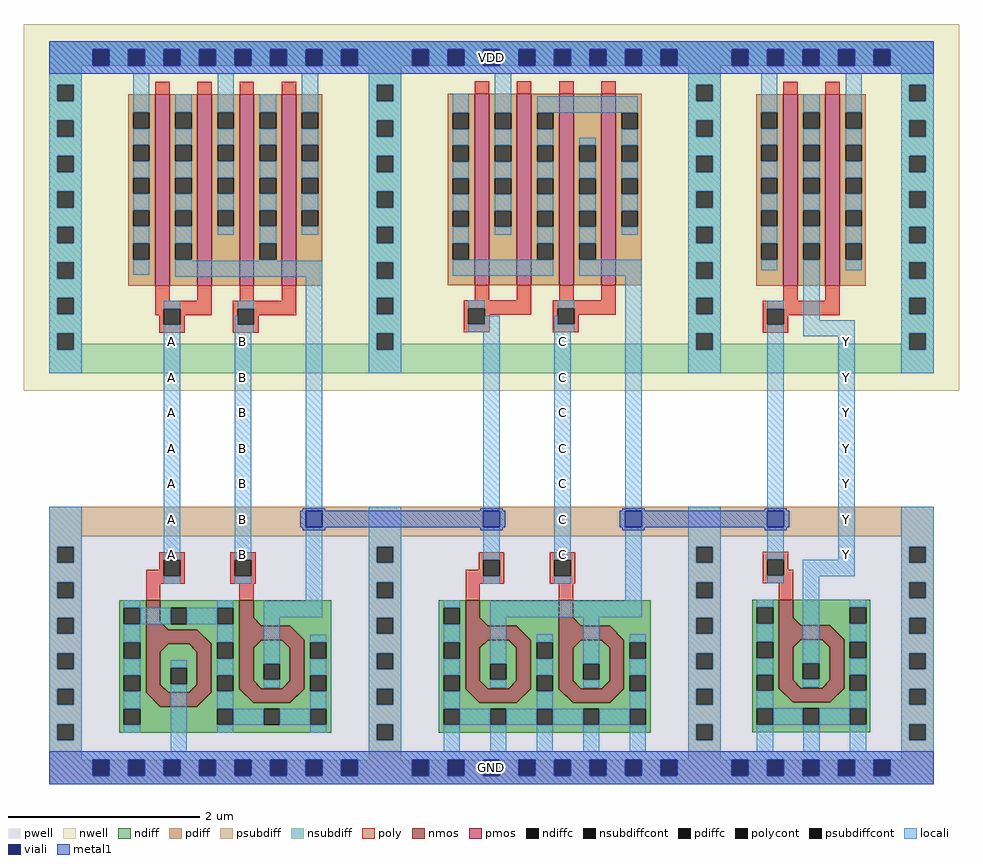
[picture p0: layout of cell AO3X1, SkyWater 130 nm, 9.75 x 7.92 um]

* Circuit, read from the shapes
.subckt AO3X1 Y A B C VDD GND
XM1 n1 A GND GND sky130_fd_pr__nfet_01v8 w=2.6 l=0.1496
XM2 n1 B n2 GND sky130_fd_pr__nfet_01v8 w=2.56 l=0.147
XM3 GND n2 n3 GND sky130_fd_pr__nfet_01v8 w=2.56 l=0.146
XM4 GND C n3 GND sky130_fd_pr__nfet_01v8 w=2.56 l=0.1465
XM5 GND n3 Y GND sky130_fd_pr__nfet_01v8 w=2.56 l=0.1486
XM6 n2 A VDD VDD sky130_fd_pr__pfet_01v8 w=2 l=0.15 m=2
XM7 n2 B VDD VDD sky130_fd_pr__pfet_01v8 w=2 l=0.15 m=2
XM8 VDD n2 n4 VDD sky130_fd_pr__pfet_01v8 w=2 l=0.15 m=2
XM9 n3 C n4 VDD sky130_fd_pr__pfet_01v8 w=2 l=0.15 m=2
XM10 Y n3 VDD VDD sky130_fd_pr__pfet_01v8 w=2 l=0.15 m=2
.ends

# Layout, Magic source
magic
tech sky130A
magscale 1 2
<< nwell >>
rect -87 786 1863 1550
<< pwell >>
rect -34 -34 1810 544
<< nmos >>
rect 168 288 198 349
tri 198 288 214 304 sw
rect 362 296 392 349
tri 392 296 408 312 sw
rect 168 258 274 288
tri 274 258 304 288 sw
rect 362 266 468 296
tri 468 266 498 296 sw
rect 168 157 198 258
tri 198 242 214 258 nw
tri 258 242 274 258 ne
tri 198 157 214 173 sw
tri 258 157 274 173 se
rect 274 157 304 258
rect 362 165 392 266
tri 392 250 408 266 nw
tri 452 250 468 266 ne
tri 392 165 408 181 sw
tri 452 165 468 181 se
rect 468 165 498 266
tri 168 127 198 157 ne
rect 198 127 274 157
tri 274 127 304 157 nw
tri 362 135 392 165 ne
rect 392 135 468 165
tri 468 135 498 165 nw
rect 834 296 864 349
tri 864 296 880 312 sw
rect 1028 296 1058 349
tri 1058 296 1074 312 sw
rect 834 266 940 296
tri 940 266 970 296 sw
rect 834 165 864 266
tri 864 250 880 266 nw
tri 924 250 940 266 ne
tri 864 165 880 181 sw
tri 924 165 940 181 se
rect 940 165 970 266
rect 1028 266 1134 296
tri 1134 266 1164 296 sw
rect 1028 251 1059 266
tri 1059 251 1074 266 nw
tri 1118 251 1133 266 ne
rect 1133 251 1164 266
tri 834 135 864 165 ne
rect 864 135 940 165
tri 940 135 970 165 nw
rect 1028 165 1058 251
tri 1058 165 1074 181 sw
tri 1118 165 1134 181 se
rect 1134 165 1164 251
tri 1028 135 1058 165 ne
rect 1058 135 1134 165
tri 1134 135 1164 165 nw
rect 1487 297 1517 350
tri 1517 297 1533 313 sw
rect 1487 267 1593 297
tri 1593 267 1623 297 sw
rect 1487 166 1517 267
tri 1517 251 1533 267 nw
tri 1577 251 1593 267 ne
tri 1517 166 1533 182 sw
tri 1577 166 1593 182 se
rect 1593 166 1623 267
tri 1487 136 1517 166 ne
rect 1517 136 1593 166
tri 1593 136 1623 166 nw
<< pmos >>
rect 187 1004 217 1404
rect 275 1004 305 1404
rect 363 1004 393 1404
rect 451 1004 481 1404
rect 853 1005 883 1405
rect 941 1005 971 1405
rect 1029 1005 1059 1405
rect 1117 1005 1147 1405
rect 1496 1004 1526 1404
rect 1584 1004 1614 1404
<< ndiff >>
rect 112 333 168 349
rect 112 299 122 333
rect 156 299 168 333
rect 112 261 168 299
rect 198 333 362 349
rect 198 304 219 333
tri 198 288 214 304 ne
rect 214 299 219 304
rect 253 299 316 333
rect 350 299 362 333
rect 214 288 362 299
rect 392 312 554 349
tri 392 296 408 312 ne
rect 408 296 554 312
rect 112 227 122 261
rect 156 227 168 261
tri 274 258 304 288 ne
rect 304 261 362 288
tri 468 266 498 296 ne
rect 112 193 168 227
rect 112 159 122 193
rect 156 159 168 193
rect 112 127 168 159
tri 198 242 214 258 se
rect 214 242 258 258
tri 258 242 274 258 sw
rect 198 208 274 242
rect 198 174 219 208
rect 253 174 274 208
rect 198 173 274 174
tri 198 157 214 173 ne
rect 214 157 258 173
tri 258 157 274 173 nw
rect 304 227 316 261
rect 350 227 362 261
rect 304 193 362 227
rect 304 159 316 193
rect 350 159 362 193
tri 392 250 408 266 se
rect 408 250 452 266
tri 452 250 468 266 sw
rect 392 217 468 250
rect 392 183 413 217
rect 447 183 468 217
rect 392 181 468 183
tri 392 165 408 181 ne
rect 408 165 452 181
tri 452 165 468 181 nw
rect 498 261 554 296
rect 498 227 510 261
rect 544 227 554 261
rect 498 193 554 227
tri 168 127 198 157 sw
tri 274 127 304 157 se
rect 304 135 362 159
tri 362 135 392 165 sw
tri 468 135 498 165 se
rect 498 159 510 193
rect 544 159 554 193
rect 498 135 554 159
rect 304 127 554 135
rect 112 123 554 127
rect 112 89 122 123
rect 156 89 316 123
rect 350 89 413 123
rect 447 89 510 123
rect 544 89 554 123
rect 112 73 554 89
rect 778 333 834 349
rect 778 299 788 333
rect 822 299 834 333
rect 778 261 834 299
rect 864 312 1028 349
tri 864 296 880 312 ne
rect 880 296 1028 312
rect 1058 312 1220 349
tri 1058 296 1074 312 ne
rect 1074 296 1220 312
tri 940 266 970 296 ne
rect 778 227 788 261
rect 822 227 834 261
rect 778 193 834 227
rect 778 159 788 193
rect 822 159 834 193
tri 864 250 880 266 se
rect 880 250 924 266
tri 924 250 940 266 sw
rect 864 217 940 250
rect 864 183 885 217
rect 919 183 940 217
rect 864 181 940 183
tri 864 165 880 181 ne
rect 880 165 924 181
tri 924 165 940 181 nw
rect 970 261 1028 296
tri 1134 266 1164 296 ne
rect 970 227 982 261
rect 1016 227 1028 261
tri 1059 251 1074 266 se
rect 1074 251 1118 266
tri 1118 251 1133 266 sw
rect 1164 261 1220 296
rect 970 193 1028 227
rect 778 135 834 159
tri 834 135 864 165 sw
tri 940 135 970 165 se
rect 970 159 982 193
rect 1016 159 1028 193
rect 1058 217 1134 251
rect 1058 183 1079 217
rect 1113 183 1134 217
rect 1058 181 1134 183
tri 1058 165 1074 181 ne
rect 1074 165 1118 181
tri 1118 165 1134 181 nw
rect 1164 227 1176 261
rect 1210 227 1220 261
rect 1164 193 1220 227
rect 970 135 1028 159
tri 1028 135 1058 165 sw
tri 1134 135 1164 165 se
rect 1164 159 1176 193
rect 1210 159 1220 193
rect 1164 135 1220 159
rect 778 123 1220 135
rect 778 89 788 123
rect 822 89 885 123
rect 919 89 982 123
rect 1016 89 1079 123
rect 1113 89 1176 123
rect 1210 89 1220 123
rect 778 73 1220 89
rect 1431 334 1487 350
rect 1431 300 1441 334
rect 1475 300 1487 334
rect 1431 262 1487 300
rect 1517 334 1677 350
rect 1517 313 1635 334
tri 1517 297 1533 313 ne
rect 1533 300 1635 313
rect 1669 300 1677 334
rect 1533 297 1677 300
tri 1593 267 1623 297 ne
rect 1431 228 1441 262
rect 1475 228 1487 262
rect 1431 194 1487 228
rect 1431 160 1441 194
rect 1475 160 1487 194
tri 1517 251 1533 267 se
rect 1533 251 1577 267
tri 1577 251 1593 267 sw
rect 1517 218 1593 251
rect 1517 184 1537 218
rect 1571 184 1593 218
rect 1517 182 1593 184
tri 1517 166 1533 182 ne
rect 1533 166 1577 182
tri 1577 166 1593 182 nw
rect 1623 262 1677 297
rect 1623 228 1635 262
rect 1669 228 1677 262
rect 1623 194 1677 228
rect 1431 136 1487 160
tri 1487 136 1517 166 sw
tri 1593 136 1623 166 se
rect 1623 160 1635 194
rect 1669 160 1677 194
rect 1623 136 1677 160
rect 1431 124 1677 136
rect 1431 90 1441 124
rect 1475 90 1537 124
rect 1571 90 1635 124
rect 1669 90 1677 124
rect 1431 74 1677 90
<< pdiff >>
rect 131 1366 187 1404
rect 131 1332 141 1366
rect 175 1332 187 1366
rect 131 1298 187 1332
rect 131 1264 141 1298
rect 175 1264 187 1298
rect 131 1230 187 1264
rect 131 1196 141 1230
rect 175 1196 187 1230
rect 131 1162 187 1196
rect 131 1128 141 1162
rect 175 1128 187 1162
rect 131 1093 187 1128
rect 131 1059 141 1093
rect 175 1059 187 1093
rect 131 1004 187 1059
rect 217 1366 275 1404
rect 217 1332 229 1366
rect 263 1332 275 1366
rect 217 1298 275 1332
rect 217 1264 229 1298
rect 263 1264 275 1298
rect 217 1230 275 1264
rect 217 1196 229 1230
rect 263 1196 275 1230
rect 217 1162 275 1196
rect 217 1128 229 1162
rect 263 1128 275 1162
rect 217 1093 275 1128
rect 217 1059 229 1093
rect 263 1059 275 1093
rect 217 1004 275 1059
rect 305 1366 363 1404
rect 305 1332 317 1366
rect 351 1332 363 1366
rect 305 1298 363 1332
rect 305 1264 317 1298
rect 351 1264 363 1298
rect 305 1230 363 1264
rect 305 1196 317 1230
rect 351 1196 363 1230
rect 305 1162 363 1196
rect 305 1128 317 1162
rect 351 1128 363 1162
rect 305 1004 363 1128
rect 393 1366 451 1404
rect 393 1332 405 1366
rect 439 1332 451 1366
rect 393 1298 451 1332
rect 393 1264 405 1298
rect 439 1264 451 1298
rect 393 1230 451 1264
rect 393 1196 405 1230
rect 439 1196 451 1230
rect 393 1162 451 1196
rect 393 1128 405 1162
rect 439 1128 451 1162
rect 393 1093 451 1128
rect 393 1059 405 1093
rect 439 1059 451 1093
rect 393 1004 451 1059
rect 481 1366 535 1404
rect 481 1332 493 1366
rect 527 1332 535 1366
rect 481 1298 535 1332
rect 481 1264 493 1298
rect 527 1264 535 1298
rect 481 1230 535 1264
rect 481 1196 493 1230
rect 527 1196 535 1230
rect 481 1162 535 1196
rect 481 1128 493 1162
rect 527 1128 535 1162
rect 481 1004 535 1128
rect 797 1365 853 1405
rect 797 1331 807 1365
rect 841 1331 853 1365
rect 797 1297 853 1331
rect 797 1263 807 1297
rect 841 1263 853 1297
rect 797 1229 853 1263
rect 797 1195 807 1229
rect 841 1195 853 1229
rect 797 1161 853 1195
rect 797 1127 807 1161
rect 841 1127 853 1161
rect 797 1093 853 1127
rect 797 1059 807 1093
rect 841 1059 853 1093
rect 797 1005 853 1059
rect 883 1365 941 1405
rect 883 1331 895 1365
rect 929 1331 941 1365
rect 883 1297 941 1331
rect 883 1263 895 1297
rect 929 1263 941 1297
rect 883 1229 941 1263
rect 883 1195 895 1229
rect 929 1195 941 1229
rect 883 1161 941 1195
rect 883 1127 895 1161
rect 929 1127 941 1161
rect 883 1005 941 1127
rect 971 1365 1029 1405
rect 971 1331 983 1365
rect 1017 1331 1029 1365
rect 971 1297 1029 1331
rect 971 1263 983 1297
rect 1017 1263 1029 1297
rect 971 1229 1029 1263
rect 971 1195 983 1229
rect 1017 1195 1029 1229
rect 971 1161 1029 1195
rect 971 1127 983 1161
rect 1017 1127 1029 1161
rect 971 1093 1029 1127
rect 971 1059 983 1093
rect 1017 1059 1029 1093
rect 971 1005 1029 1059
rect 1059 1297 1117 1405
rect 1059 1263 1071 1297
rect 1105 1263 1117 1297
rect 1059 1229 1117 1263
rect 1059 1195 1071 1229
rect 1105 1195 1117 1229
rect 1059 1161 1117 1195
rect 1059 1127 1071 1161
rect 1105 1127 1117 1161
rect 1059 1093 1117 1127
rect 1059 1059 1071 1093
rect 1105 1059 1117 1093
rect 1059 1005 1117 1059
rect 1147 1365 1201 1405
rect 1147 1331 1159 1365
rect 1193 1331 1201 1365
rect 1147 1297 1201 1331
rect 1147 1263 1159 1297
rect 1193 1263 1201 1297
rect 1147 1229 1201 1263
rect 1147 1195 1159 1229
rect 1193 1195 1201 1229
rect 1147 1161 1201 1195
rect 1147 1127 1159 1161
rect 1193 1127 1201 1161
rect 1147 1005 1201 1127
rect 1440 1366 1496 1404
rect 1440 1332 1450 1366
rect 1484 1332 1496 1366
rect 1440 1298 1496 1332
rect 1440 1264 1450 1298
rect 1484 1264 1496 1298
rect 1440 1230 1496 1264
rect 1440 1196 1450 1230
rect 1484 1196 1496 1230
rect 1440 1162 1496 1196
rect 1440 1128 1450 1162
rect 1484 1128 1496 1162
rect 1440 1093 1496 1128
rect 1440 1059 1450 1093
rect 1484 1059 1496 1093
rect 1440 1004 1496 1059
rect 1526 1366 1584 1404
rect 1526 1332 1538 1366
rect 1572 1332 1584 1366
rect 1526 1298 1584 1332
rect 1526 1264 1538 1298
rect 1572 1264 1584 1298
rect 1526 1230 1584 1264
rect 1526 1196 1538 1230
rect 1572 1196 1584 1230
rect 1526 1162 1584 1196
rect 1526 1128 1538 1162
rect 1572 1128 1584 1162
rect 1526 1093 1584 1128
rect 1526 1059 1538 1093
rect 1572 1059 1584 1093
rect 1526 1004 1584 1059
rect 1614 1366 1668 1404
rect 1614 1332 1626 1366
rect 1660 1332 1668 1366
rect 1614 1298 1668 1332
rect 1614 1264 1626 1298
rect 1660 1264 1668 1298
rect 1614 1230 1668 1264
rect 1614 1196 1626 1230
rect 1660 1196 1668 1230
rect 1614 1162 1668 1196
rect 1614 1128 1626 1162
rect 1660 1128 1668 1162
rect 1614 1093 1668 1128
rect 1614 1059 1626 1093
rect 1660 1059 1668 1093
rect 1614 1004 1668 1059
<< ndiffc >>
rect 122 299 156 333
rect 219 299 253 333
rect 316 299 350 333
rect 122 227 156 261
rect 122 159 156 193
rect 219 174 253 208
rect 316 227 350 261
rect 316 159 350 193
rect 413 183 447 217
rect 510 227 544 261
rect 510 159 544 193
rect 122 89 156 123
rect 316 89 350 123
rect 413 89 447 123
rect 510 89 544 123
rect 788 299 822 333
rect 788 227 822 261
rect 788 159 822 193
rect 885 183 919 217
rect 982 227 1016 261
rect 982 159 1016 193
rect 1079 183 1113 217
rect 1176 227 1210 261
rect 1176 159 1210 193
rect 788 89 822 123
rect 885 89 919 123
rect 982 89 1016 123
rect 1079 89 1113 123
rect 1176 89 1210 123
rect 1441 300 1475 334
rect 1635 300 1669 334
rect 1441 228 1475 262
rect 1441 160 1475 194
rect 1537 184 1571 218
rect 1635 228 1669 262
rect 1635 160 1669 194
rect 1441 90 1475 124
rect 1537 90 1571 124
rect 1635 90 1669 124
<< pdiffc >>
rect 141 1332 175 1366
rect 141 1264 175 1298
rect 141 1196 175 1230
rect 141 1128 175 1162
rect 141 1059 175 1093
rect 229 1332 263 1366
rect 229 1264 263 1298
rect 229 1196 263 1230
rect 229 1128 263 1162
rect 229 1059 263 1093
rect 317 1332 351 1366
rect 317 1264 351 1298
rect 317 1196 351 1230
rect 317 1128 351 1162
rect 405 1332 439 1366
rect 405 1264 439 1298
rect 405 1196 439 1230
rect 405 1128 439 1162
rect 405 1059 439 1093
rect 493 1332 527 1366
rect 493 1264 527 1298
rect 493 1196 527 1230
rect 493 1128 527 1162
rect 807 1331 841 1365
rect 807 1263 841 1297
rect 807 1195 841 1229
rect 807 1127 841 1161
rect 807 1059 841 1093
rect 895 1331 929 1365
rect 895 1263 929 1297
rect 895 1195 929 1229
rect 895 1127 929 1161
rect 983 1331 1017 1365
rect 983 1263 1017 1297
rect 983 1195 1017 1229
rect 983 1127 1017 1161
rect 983 1059 1017 1093
rect 1071 1263 1105 1297
rect 1071 1195 1105 1229
rect 1071 1127 1105 1161
rect 1071 1059 1105 1093
rect 1159 1331 1193 1365
rect 1159 1263 1193 1297
rect 1159 1195 1193 1229
rect 1159 1127 1193 1161
rect 1450 1332 1484 1366
rect 1450 1264 1484 1298
rect 1450 1196 1484 1230
rect 1450 1128 1484 1162
rect 1450 1059 1484 1093
rect 1538 1332 1572 1366
rect 1538 1264 1572 1298
rect 1538 1196 1572 1230
rect 1538 1128 1572 1162
rect 1538 1059 1572 1093
rect 1626 1332 1660 1366
rect 1626 1264 1660 1298
rect 1626 1196 1660 1230
rect 1626 1128 1660 1162
rect 1626 1059 1660 1093
<< psubdiff >>
rect -34 482 1810 544
rect -34 461 34 482
rect -34 427 -17 461
rect 17 427 34 461
rect 632 461 700 482
rect -34 387 34 427
rect -34 353 -17 387
rect 17 353 34 387
rect -34 313 34 353
rect 632 427 649 461
rect 683 427 700 461
rect 1298 461 1366 482
rect 632 387 700 427
rect 632 353 649 387
rect 683 353 700 387
rect -34 279 -17 313
rect 17 279 34 313
rect -34 239 34 279
rect -34 205 -17 239
rect 17 205 34 239
rect -34 165 34 205
rect -34 131 -17 165
rect 17 131 34 165
rect -34 91 34 131
rect -34 57 -17 91
rect 17 57 34 91
rect 632 313 700 353
rect 1298 427 1315 461
rect 1349 427 1366 461
rect 1742 461 1810 482
rect 1298 387 1366 427
rect 1298 353 1315 387
rect 1349 353 1366 387
rect 1742 427 1759 461
rect 1793 427 1810 461
rect 632 279 649 313
rect 683 279 700 313
rect 632 239 700 279
rect 632 205 649 239
rect 683 205 700 239
rect 632 165 700 205
rect 632 131 649 165
rect 683 131 700 165
rect 632 91 700 131
rect -34 17 34 57
rect 632 57 649 91
rect 683 57 700 91
rect 1298 313 1366 353
rect 1742 387 1810 427
rect 1742 353 1759 387
rect 1793 353 1810 387
rect 1298 279 1315 313
rect 1349 279 1366 313
rect 1298 239 1366 279
rect 1298 205 1315 239
rect 1349 205 1366 239
rect 1298 165 1366 205
rect 1298 131 1315 165
rect 1349 131 1366 165
rect 1298 91 1366 131
rect 632 17 700 57
rect 1298 57 1315 91
rect 1349 57 1366 91
rect 1742 313 1810 353
rect 1742 279 1759 313
rect 1793 279 1810 313
rect 1742 239 1810 279
rect 1742 205 1759 239
rect 1793 205 1810 239
rect 1742 165 1810 205
rect 1742 131 1759 165
rect 1793 131 1810 165
rect 1742 91 1810 131
rect 1298 17 1366 57
rect 1742 57 1759 91
rect 1793 57 1810 91
rect 1742 17 1810 57
rect -34 -17 57 17
rect 91 -17 131 17
rect 165 -17 205 17
rect 239 -17 279 17
rect 313 -17 353 17
rect 387 -17 427 17
rect 461 -17 501 17
rect 535 -17 575 17
rect 609 -17 723 17
rect 757 -17 797 17
rect 831 -17 871 17
rect 905 -17 945 17
rect 979 -17 1019 17
rect 1053 -17 1093 17
rect 1127 -17 1167 17
rect 1201 -17 1241 17
rect 1275 -17 1389 17
rect 1423 -17 1463 17
rect 1497 -17 1537 17
rect 1571 -17 1611 17
rect 1645 -17 1685 17
rect 1719 -17 1810 17
rect -34 -34 1810 -17
<< nsubdiff >>
rect -34 1497 1810 1514
rect -34 1463 57 1497
rect 91 1463 131 1497
rect 165 1463 205 1497
rect 239 1463 279 1497
rect 313 1463 353 1497
rect 387 1463 427 1497
rect 461 1463 501 1497
rect 535 1463 575 1497
rect 609 1463 723 1497
rect 757 1463 797 1497
rect 831 1463 871 1497
rect 905 1463 945 1497
rect 979 1463 1019 1497
rect 1053 1463 1093 1497
rect 1127 1463 1167 1497
rect 1201 1463 1241 1497
rect 1275 1463 1389 1497
rect 1423 1463 1463 1497
rect 1497 1463 1537 1497
rect 1571 1463 1611 1497
rect 1645 1463 1685 1497
rect 1719 1463 1810 1497
rect -34 1423 34 1463
rect -34 1389 -17 1423
rect 17 1389 34 1423
rect 632 1423 700 1463
rect -34 1349 34 1389
rect -34 1315 -17 1349
rect 17 1315 34 1349
rect -34 1275 34 1315
rect -34 1241 -17 1275
rect 17 1241 34 1275
rect -34 1201 34 1241
rect -34 1167 -17 1201
rect 17 1167 34 1201
rect -34 1127 34 1167
rect -34 1093 -17 1127
rect 17 1093 34 1127
rect -34 1053 34 1093
rect -34 1019 -17 1053
rect 17 1019 34 1053
rect -34 979 34 1019
rect 632 1389 649 1423
rect 683 1389 700 1423
rect 1298 1423 1366 1463
rect 632 1349 700 1389
rect 632 1315 649 1349
rect 683 1315 700 1349
rect 632 1275 700 1315
rect 632 1241 649 1275
rect 683 1241 700 1275
rect 632 1201 700 1241
rect 632 1167 649 1201
rect 683 1167 700 1201
rect 632 1127 700 1167
rect 632 1093 649 1127
rect 683 1093 700 1127
rect 632 1053 700 1093
rect 632 1019 649 1053
rect 683 1019 700 1053
rect -34 945 -17 979
rect 17 945 34 979
rect -34 905 34 945
rect 632 979 700 1019
rect 1298 1389 1315 1423
rect 1349 1389 1366 1423
rect 1742 1423 1810 1463
rect 1298 1349 1366 1389
rect 1298 1315 1315 1349
rect 1349 1315 1366 1349
rect 1298 1275 1366 1315
rect 1298 1241 1315 1275
rect 1349 1241 1366 1275
rect 1298 1201 1366 1241
rect 1298 1167 1315 1201
rect 1349 1167 1366 1201
rect 1298 1127 1366 1167
rect 1298 1093 1315 1127
rect 1349 1093 1366 1127
rect 1298 1053 1366 1093
rect 1298 1019 1315 1053
rect 1349 1019 1366 1053
rect 632 945 649 979
rect 683 945 700 979
rect -34 871 -17 905
rect 17 884 34 905
rect 632 905 700 945
rect 1298 979 1366 1019
rect 1742 1389 1759 1423
rect 1793 1389 1810 1423
rect 1742 1349 1810 1389
rect 1742 1315 1759 1349
rect 1793 1315 1810 1349
rect 1742 1275 1810 1315
rect 1742 1241 1759 1275
rect 1793 1241 1810 1275
rect 1742 1201 1810 1241
rect 1742 1167 1759 1201
rect 1793 1167 1810 1201
rect 1742 1127 1810 1167
rect 1742 1093 1759 1127
rect 1793 1093 1810 1127
rect 1742 1053 1810 1093
rect 1742 1019 1759 1053
rect 1793 1019 1810 1053
rect 1298 945 1315 979
rect 1349 945 1366 979
rect 632 884 649 905
rect 17 871 649 884
rect 683 884 700 905
rect 1298 905 1366 945
rect 1742 979 1810 1019
rect 1742 945 1759 979
rect 1793 945 1810 979
rect 1298 884 1315 905
rect 683 871 1315 884
rect 1349 884 1366 905
rect 1742 905 1810 945
rect 1742 884 1759 905
rect 1349 871 1759 884
rect 1793 871 1810 905
rect -34 822 1810 871
<< psubdiffcont >>
rect -17 427 17 461
rect -17 353 17 387
rect 649 427 683 461
rect 649 353 683 387
rect -17 279 17 313
rect -17 205 17 239
rect -17 131 17 165
rect -17 57 17 91
rect 1315 427 1349 461
rect 1315 353 1349 387
rect 1759 427 1793 461
rect 649 279 683 313
rect 649 205 683 239
rect 649 131 683 165
rect 649 57 683 91
rect 1759 353 1793 387
rect 1315 279 1349 313
rect 1315 205 1349 239
rect 1315 131 1349 165
rect 1315 57 1349 91
rect 1759 279 1793 313
rect 1759 205 1793 239
rect 1759 131 1793 165
rect 1759 57 1793 91
rect 57 -17 91 17
rect 131 -17 165 17
rect 205 -17 239 17
rect 279 -17 313 17
rect 353 -17 387 17
rect 427 -17 461 17
rect 501 -17 535 17
rect 575 -17 609 17
rect 723 -17 757 17
rect 797 -17 831 17
rect 871 -17 905 17
rect 945 -17 979 17
rect 1019 -17 1053 17
rect 1093 -17 1127 17
rect 1167 -17 1201 17
rect 1241 -17 1275 17
rect 1389 -17 1423 17
rect 1463 -17 1497 17
rect 1537 -17 1571 17
rect 1611 -17 1645 17
rect 1685 -17 1719 17
<< nsubdiffcont >>
rect 57 1463 91 1497
rect 131 1463 165 1497
rect 205 1463 239 1497
rect 279 1463 313 1497
rect 353 1463 387 1497
rect 427 1463 461 1497
rect 501 1463 535 1497
rect 575 1463 609 1497
rect 723 1463 757 1497
rect 797 1463 831 1497
rect 871 1463 905 1497
rect 945 1463 979 1497
rect 1019 1463 1053 1497
rect 1093 1463 1127 1497
rect 1167 1463 1201 1497
rect 1241 1463 1275 1497
rect 1389 1463 1423 1497
rect 1463 1463 1497 1497
rect 1537 1463 1571 1497
rect 1611 1463 1645 1497
rect 1685 1463 1719 1497
rect -17 1389 17 1423
rect -17 1315 17 1349
rect -17 1241 17 1275
rect -17 1167 17 1201
rect -17 1093 17 1127
rect -17 1019 17 1053
rect 649 1389 683 1423
rect 649 1315 683 1349
rect 649 1241 683 1275
rect 649 1167 683 1201
rect 649 1093 683 1127
rect 649 1019 683 1053
rect -17 945 17 979
rect 1315 1389 1349 1423
rect 1315 1315 1349 1349
rect 1315 1241 1349 1275
rect 1315 1167 1349 1201
rect 1315 1093 1349 1127
rect 1315 1019 1349 1053
rect 649 945 683 979
rect -17 871 17 905
rect 1759 1389 1793 1423
rect 1759 1315 1793 1349
rect 1759 1241 1793 1275
rect 1759 1167 1793 1201
rect 1759 1093 1793 1127
rect 1759 1019 1793 1053
rect 1315 945 1349 979
rect 649 871 683 905
rect 1759 945 1793 979
rect 1315 871 1349 905
rect 1759 871 1793 905
<< poly >>
rect 187 1404 217 1430
rect 275 1404 305 1430
rect 363 1404 393 1430
rect 451 1404 481 1430
rect 853 1405 883 1431
rect 941 1405 971 1431
rect 1029 1405 1059 1431
rect 1117 1405 1147 1431
rect 187 973 217 1004
rect 275 973 305 1004
rect 363 973 393 1004
rect 451 973 481 1004
rect 187 957 305 973
rect 187 943 205 957
rect 195 923 205 943
rect 239 943 305 957
rect 349 957 481 973
rect 239 923 249 943
rect 195 907 249 923
rect 349 923 359 957
rect 393 943 481 957
rect 1496 1404 1526 1430
rect 1584 1404 1614 1430
rect 853 974 883 1005
rect 941 974 971 1005
rect 1029 974 1059 1005
rect 1117 974 1147 1005
rect 393 923 403 943
rect 349 907 403 923
rect 830 958 971 974
rect 830 924 840 958
rect 874 944 971 958
rect 1016 958 1147 974
rect 874 924 884 944
rect 830 908 884 924
rect 1016 924 1026 958
rect 1060 944 1147 958
rect 1496 973 1526 1004
rect 1584 973 1614 1004
rect 1060 924 1070 944
rect 1016 908 1070 924
rect 1453 957 1614 973
rect 1453 923 1463 957
rect 1497 943 1614 957
rect 1497 923 1507 943
rect 1453 907 1507 923
rect 195 433 249 449
rect 195 413 205 433
rect 168 399 205 413
rect 239 399 249 433
rect 168 383 249 399
rect 343 433 397 449
rect 343 399 353 433
rect 387 399 397 433
rect 343 383 397 399
rect 861 433 915 449
rect 861 413 871 433
rect 168 349 198 383
rect 362 349 392 383
rect 834 399 871 413
rect 905 399 915 433
rect 834 383 915 399
rect 1009 433 1063 449
rect 1009 399 1019 433
rect 1053 399 1063 433
rect 1009 383 1063 399
rect 834 349 864 383
rect 1028 349 1058 383
rect 1453 434 1507 450
rect 1453 400 1463 434
rect 1497 413 1507 434
rect 1497 400 1517 413
rect 1453 384 1517 400
rect 1487 350 1517 384
<< polycont >>
rect 205 923 239 957
rect 359 923 393 957
rect 840 924 874 958
rect 1026 924 1060 958
rect 1463 923 1497 957
rect 205 399 239 433
rect 353 399 387 433
rect 871 399 905 433
rect 1019 399 1053 433
rect 1463 400 1497 434
<< locali >>
rect -34 1497 1810 1514
rect -34 1463 57 1497
rect 91 1463 131 1497
rect 165 1463 205 1497
rect 239 1463 279 1497
rect 313 1463 353 1497
rect 387 1463 427 1497
rect 461 1463 501 1497
rect 535 1463 575 1497
rect 609 1463 723 1497
rect 757 1463 797 1497
rect 831 1463 871 1497
rect 905 1463 945 1497
rect 979 1463 1019 1497
rect 1053 1463 1093 1497
rect 1127 1463 1167 1497
rect 1201 1463 1241 1497
rect 1275 1463 1389 1497
rect 1423 1463 1463 1497
rect 1497 1463 1537 1497
rect 1571 1463 1611 1497
rect 1645 1463 1685 1497
rect 1719 1463 1810 1497
rect -34 1446 1810 1463
rect -34 1423 34 1446
rect -34 1389 -17 1423
rect 17 1389 34 1423
rect -34 1349 34 1389
rect -34 1315 -17 1349
rect 17 1315 34 1349
rect -34 1275 34 1315
rect -34 1241 -17 1275
rect 17 1241 34 1275
rect -34 1201 34 1241
rect -34 1167 -17 1201
rect 17 1167 34 1201
rect -34 1127 34 1167
rect -34 1093 -17 1127
rect 17 1093 34 1127
rect -34 1053 34 1093
rect -34 1019 -17 1053
rect 17 1019 34 1053
rect 141 1366 175 1446
rect 141 1298 175 1332
rect 141 1230 175 1264
rect 141 1162 175 1196
rect 141 1093 175 1128
rect 141 1027 175 1059
rect 229 1366 263 1404
rect 229 1298 263 1332
rect 229 1230 263 1264
rect 229 1162 263 1196
rect 229 1093 263 1128
rect 317 1366 351 1446
rect 317 1298 351 1332
rect 317 1230 351 1264
rect 317 1162 351 1196
rect 317 1111 351 1128
rect 405 1366 439 1404
rect 405 1298 439 1332
rect 405 1230 439 1264
rect 405 1162 439 1196
rect 229 1057 263 1059
rect 405 1093 439 1128
rect 493 1366 527 1446
rect 493 1298 527 1332
rect 493 1230 527 1264
rect 493 1162 527 1196
rect 493 1111 527 1128
rect 632 1423 700 1446
rect 632 1389 649 1423
rect 683 1389 700 1423
rect 632 1349 700 1389
rect 632 1315 649 1349
rect 683 1315 700 1349
rect 632 1275 700 1315
rect 632 1241 649 1275
rect 683 1241 700 1275
rect 632 1201 700 1241
rect 632 1167 649 1201
rect 683 1167 700 1201
rect 632 1127 700 1167
rect 405 1057 439 1059
rect 632 1093 649 1127
rect 683 1093 700 1127
rect 229 1023 535 1057
rect -34 979 34 1019
rect -34 945 -17 979
rect 17 945 34 979
rect -34 905 34 945
rect -34 871 -17 905
rect 17 871 34 905
rect -34 822 34 871
rect 205 957 239 973
rect 359 957 393 973
rect -34 461 34 544
rect -34 427 -17 461
rect 17 427 34 461
rect -34 387 34 427
rect -34 353 -17 387
rect 17 353 34 387
rect 205 433 239 923
rect 205 383 239 399
rect 353 923 359 942
rect 353 907 393 923
rect 353 433 387 907
rect 353 383 387 399
rect 501 535 535 1023
rect 632 1053 700 1093
rect 632 1019 649 1053
rect 683 1019 700 1053
rect 807 1365 841 1405
rect 807 1297 841 1331
rect 807 1229 841 1263
rect 807 1161 841 1195
rect 807 1093 841 1127
rect 895 1365 929 1446
rect 1298 1423 1366 1446
rect 895 1297 929 1331
rect 895 1229 929 1263
rect 895 1161 929 1195
rect 895 1111 929 1127
rect 983 1365 1193 1399
rect 983 1297 1017 1331
rect 983 1229 1017 1263
rect 983 1161 1017 1195
rect 983 1093 1017 1127
rect 807 1025 1017 1059
rect 1071 1297 1105 1313
rect 1071 1229 1105 1263
rect 1071 1161 1105 1195
rect 1071 1093 1105 1127
rect 1159 1297 1193 1331
rect 1159 1229 1193 1263
rect 1159 1161 1193 1195
rect 1159 1111 1193 1127
rect 1298 1389 1315 1423
rect 1349 1389 1366 1423
rect 1298 1349 1366 1389
rect 1298 1315 1315 1349
rect 1349 1315 1366 1349
rect 1298 1275 1366 1315
rect 1298 1241 1315 1275
rect 1349 1241 1366 1275
rect 1298 1201 1366 1241
rect 1298 1167 1315 1201
rect 1349 1167 1366 1201
rect 1298 1127 1366 1167
rect 1298 1093 1315 1127
rect 1349 1093 1366 1127
rect 1071 1025 1201 1059
rect 632 979 700 1019
rect 632 945 649 979
rect 683 945 700 979
rect 632 905 700 945
rect 840 958 874 974
rect 1026 958 1060 974
rect 874 924 905 942
rect 840 908 905 924
rect 632 871 649 905
rect 683 871 700 905
rect 632 822 700 871
rect -34 313 34 353
rect -34 279 -17 313
rect 17 279 34 313
rect -34 239 34 279
rect -34 205 -17 239
rect 17 205 34 239
rect -34 165 34 205
rect -34 131 -17 165
rect 17 131 34 165
rect -34 91 34 131
rect -34 57 -17 91
rect 17 57 34 91
rect 122 333 156 349
rect 316 333 350 349
rect 501 348 535 501
rect 156 299 219 333
rect 253 299 316 333
rect 122 261 156 299
rect 122 193 156 227
rect 316 261 350 299
rect 122 123 156 159
rect 122 73 156 89
rect 219 208 253 224
rect -34 34 34 57
rect 219 34 253 174
rect 316 193 350 227
rect 413 314 535 348
rect 632 461 700 544
rect 632 427 649 461
rect 683 427 700 461
rect 632 387 700 427
rect 632 353 649 387
rect 683 353 700 387
rect 871 535 905 908
rect 871 433 905 501
rect 871 383 905 399
rect 1019 924 1026 942
rect 1019 908 1060 924
rect 1019 433 1053 908
rect 1019 383 1053 399
rect 1167 535 1201 1025
rect 1298 1053 1366 1093
rect 1298 1019 1315 1053
rect 1349 1019 1366 1053
rect 1450 1366 1484 1446
rect 1450 1298 1484 1332
rect 1450 1230 1484 1264
rect 1450 1162 1484 1196
rect 1450 1093 1484 1128
rect 1450 1037 1484 1059
rect 1538 1366 1572 1404
rect 1538 1298 1572 1332
rect 1538 1230 1572 1264
rect 1538 1162 1572 1196
rect 1538 1093 1572 1128
rect 1298 979 1366 1019
rect 1298 945 1315 979
rect 1349 945 1366 979
rect 1298 905 1366 945
rect 1298 871 1315 905
rect 1349 871 1366 905
rect 1298 822 1366 871
rect 1463 957 1497 973
rect 413 217 447 314
rect 632 313 700 353
rect 632 279 649 313
rect 683 279 700 313
rect 413 167 447 183
rect 510 261 544 277
rect 510 193 544 227
rect 316 123 350 159
rect 510 123 544 159
rect 350 89 413 123
rect 447 89 510 123
rect 316 73 350 89
rect 510 73 544 89
rect 632 239 700 279
rect 632 205 649 239
rect 683 205 700 239
rect 632 165 700 205
rect 632 131 649 165
rect 683 131 700 165
rect 632 91 700 131
rect 632 57 649 91
rect 683 57 700 91
rect 632 34 700 57
rect 788 333 822 349
rect 1167 348 1201 501
rect 788 261 822 299
rect 788 193 822 227
rect 885 314 1201 348
rect 1298 461 1366 544
rect 1298 427 1315 461
rect 1349 427 1366 461
rect 1298 387 1366 427
rect 1298 353 1315 387
rect 1349 353 1366 387
rect 1463 535 1497 923
rect 1538 933 1572 1059
rect 1626 1366 1660 1446
rect 1626 1298 1660 1332
rect 1626 1230 1660 1264
rect 1626 1162 1660 1196
rect 1626 1093 1660 1128
rect 1626 1037 1660 1059
rect 1742 1423 1810 1446
rect 1742 1389 1759 1423
rect 1793 1389 1810 1423
rect 1742 1349 1810 1389
rect 1742 1315 1759 1349
rect 1793 1315 1810 1349
rect 1742 1275 1810 1315
rect 1742 1241 1759 1275
rect 1793 1241 1810 1275
rect 1742 1201 1810 1241
rect 1742 1167 1759 1201
rect 1793 1167 1810 1201
rect 1742 1127 1810 1167
rect 1742 1093 1759 1127
rect 1793 1093 1810 1127
rect 1742 1053 1810 1093
rect 1742 1019 1759 1053
rect 1793 1019 1810 1053
rect 1742 979 1810 1019
rect 1742 945 1759 979
rect 1793 945 1810 979
rect 1538 899 1645 933
rect 1463 434 1497 501
rect 1611 433 1645 899
rect 1742 905 1810 945
rect 1742 871 1759 905
rect 1793 871 1810 905
rect 1742 822 1810 871
rect 1463 384 1497 400
rect 1537 399 1645 433
rect 1742 461 1810 544
rect 1742 427 1759 461
rect 1793 427 1810 461
rect 885 217 919 314
rect 885 167 919 183
rect 982 261 1016 278
rect 982 193 1016 227
rect 788 123 822 159
rect 1079 217 1113 314
rect 1298 313 1366 353
rect 1298 279 1315 313
rect 1349 279 1366 313
rect 1079 167 1113 183
rect 1176 261 1210 278
rect 1176 193 1210 227
rect 982 123 1016 159
rect 1176 123 1210 159
rect 822 89 885 123
rect 919 89 982 123
rect 1016 89 1079 123
rect 1113 89 1176 123
rect 788 34 822 89
rect 885 34 919 89
rect 982 34 1016 89
rect 1079 34 1113 89
rect 1176 34 1210 89
rect 1298 239 1366 279
rect 1298 205 1315 239
rect 1349 205 1366 239
rect 1298 165 1366 205
rect 1298 131 1315 165
rect 1349 131 1366 165
rect 1298 91 1366 131
rect 1298 57 1315 91
rect 1349 57 1366 91
rect 1298 34 1366 57
rect 1441 334 1475 350
rect 1441 262 1475 300
rect 1441 194 1475 228
rect 1537 218 1571 399
rect 1742 387 1810 427
rect 1742 353 1759 387
rect 1793 353 1810 387
rect 1537 168 1571 184
rect 1635 334 1669 350
rect 1635 262 1669 300
rect 1635 194 1669 228
rect 1441 124 1475 160
rect 1635 124 1669 160
rect 1475 90 1537 124
rect 1571 90 1635 124
rect 1441 34 1475 90
rect 1538 34 1572 90
rect 1635 34 1669 90
rect 1742 313 1810 353
rect 1742 279 1759 313
rect 1793 279 1810 313
rect 1742 239 1810 279
rect 1742 205 1759 239
rect 1793 205 1810 239
rect 1742 165 1810 205
rect 1742 131 1759 165
rect 1793 131 1810 165
rect 1742 91 1810 131
rect 1742 57 1759 91
rect 1793 57 1810 91
rect 1742 34 1810 57
rect -34 17 1810 34
rect -34 -17 57 17
rect 91 -17 131 17
rect 165 -17 205 17
rect 239 -17 279 17
rect 313 -17 353 17
rect 387 -17 427 17
rect 461 -17 501 17
rect 535 -17 575 17
rect 609 -17 723 17
rect 757 -17 797 17
rect 831 -17 871 17
rect 905 -17 945 17
rect 979 -17 1019 17
rect 1053 -17 1093 17
rect 1127 -17 1167 17
rect 1201 -17 1241 17
rect 1275 -17 1389 17
rect 1423 -17 1463 17
rect 1497 -17 1537 17
rect 1571 -17 1611 17
rect 1645 -17 1685 17
rect 1719 -17 1810 17
rect -34 -34 1810 -17
<< viali >>
rect 57 1463 91 1497
rect 131 1463 165 1497
rect 205 1463 239 1497
rect 279 1463 313 1497
rect 353 1463 387 1497
rect 427 1463 461 1497
rect 501 1463 535 1497
rect 575 1463 609 1497
rect 723 1463 757 1497
rect 797 1463 831 1497
rect 871 1463 905 1497
rect 945 1463 979 1497
rect 1019 1463 1053 1497
rect 1093 1463 1127 1497
rect 1167 1463 1201 1497
rect 1241 1463 1275 1497
rect 1389 1463 1423 1497
rect 1463 1463 1497 1497
rect 1537 1463 1571 1497
rect 1611 1463 1645 1497
rect 1685 1463 1719 1497
rect 501 501 535 535
rect 871 501 905 535
rect 1167 501 1201 535
rect 1463 501 1497 535
rect 57 -17 91 17
rect 131 -17 165 17
rect 205 -17 239 17
rect 279 -17 313 17
rect 353 -17 387 17
rect 427 -17 461 17
rect 501 -17 535 17
rect 575 -17 609 17
rect 723 -17 757 17
rect 797 -17 831 17
rect 871 -17 905 17
rect 945 -17 979 17
rect 1019 -17 1053 17
rect 1093 -17 1127 17
rect 1167 -17 1201 17
rect 1241 -17 1275 17
rect 1389 -17 1423 17
rect 1463 -17 1497 17
rect 1537 -17 1571 17
rect 1611 -17 1645 17
rect 1685 -17 1719 17
<< metal1 >>
rect -34 1497 1810 1514
rect -34 1463 57 1497
rect 91 1463 131 1497
rect 165 1463 205 1497
rect 239 1463 279 1497
rect 313 1463 353 1497
rect 387 1463 427 1497
rect 461 1463 501 1497
rect 535 1463 575 1497
rect 609 1463 723 1497
rect 757 1463 797 1497
rect 831 1463 871 1497
rect 905 1463 945 1497
rect 979 1463 1019 1497
rect 1053 1463 1093 1497
rect 1127 1463 1167 1497
rect 1201 1463 1241 1497
rect 1275 1463 1389 1497
rect 1423 1463 1463 1497
rect 1497 1463 1537 1497
rect 1571 1463 1611 1497
rect 1645 1463 1685 1497
rect 1719 1463 1810 1497
rect -34 1446 1810 1463
rect 495 535 541 541
rect 865 535 911 541
rect 1161 535 1207 541
rect 1457 535 1503 541
rect 489 501 501 535
rect 535 501 871 535
rect 905 501 917 535
rect 1155 501 1167 535
rect 1201 501 1463 535
rect 1497 501 1509 535
rect 495 495 541 501
rect 865 495 911 501
rect 1161 495 1207 501
rect 1457 495 1503 501
rect -34 17 1810 34
rect -34 -17 57 17
rect 91 -17 131 17
rect 165 -17 205 17
rect 239 -17 279 17
rect 313 -17 353 17
rect 387 -17 427 17
rect 461 -17 501 17
rect 535 -17 575 17
rect 609 -17 723 17
rect 757 -17 797 17
rect 831 -17 871 17
rect 905 -17 945 17
rect 979 -17 1019 17
rect 1053 -17 1093 17
rect 1127 -17 1167 17
rect 1201 -17 1241 17
rect 1275 -17 1389 17
rect 1423 -17 1463 17
rect 1497 -17 1537 17
rect 1571 -17 1611 17
rect 1645 -17 1685 17
rect 1719 -17 1810 17
rect -34 -34 1810 -17
<< labels >>
rlabel locali 1611 797 1645 831 1 Y
port 1 nsew signal output
rlabel locali 1611 723 1645 757 1 Y
port 1 nsew signal output
rlabel locali 1611 649 1645 683 1 Y
port 1 nsew signal output
rlabel locali 1611 575 1645 609 1 Y
port 1 nsew signal output
rlabel locali 1611 501 1645 535 1 Y
port 1 nsew signal output
rlabel locali 1611 427 1645 461 1 Y
port 1 nsew signal output
rlabel locali 1611 871 1645 905 1 Y
port 1 nsew signal output
rlabel locali 205 575 239 609 1 A
port 2 nsew signal input
rlabel locali 205 501 239 535 1 A
port 2 nsew signal input
rlabel locali 205 427 239 461 1 A
port 2 nsew signal input
rlabel locali 205 649 239 683 1 A
port 2 nsew signal input
rlabel locali 205 723 239 757 1 A
port 2 nsew signal input
rlabel locali 205 797 239 831 1 A
port 2 nsew signal input
rlabel locali 205 871 239 905 1 A
port 2 nsew signal input
rlabel locali 353 649 387 683 1 B
port 3 nsew signal input
rlabel locali 353 575 387 609 1 B
port 3 nsew signal input
rlabel locali 353 501 387 535 1 B
port 3 nsew signal input
rlabel locali 353 427 387 461 1 B
port 3 nsew signal input
rlabel locali 353 723 387 757 1 B
port 3 nsew signal input
rlabel locali 353 797 387 831 1 B
port 3 nsew signal input
rlabel locali 353 871 387 905 1 B
port 3 nsew signal input
rlabel locali 1019 723 1053 757 1 C
port 4 nsew signal input
rlabel locali 1019 649 1053 683 1 C
port 4 nsew signal input
rlabel locali 1019 575 1053 609 1 C
port 4 nsew signal input
rlabel locali 1019 501 1053 535 1 C
port 4 nsew signal input
rlabel locali 1019 427 1053 461 1 C
port 4 nsew signal input
rlabel locali 1019 797 1053 831 1 C
port 4 nsew signal input
rlabel locali 1019 871 1053 905 1 C
port 4 nsew signal input
rlabel metal1 -34 1446 1810 1514 1 VDD
port 5 nsew power bidirectional abutment
rlabel metal1 -34 -34 1810 34 1 GND
port 6 nsew ground bidirectional abutment
<< end >>
